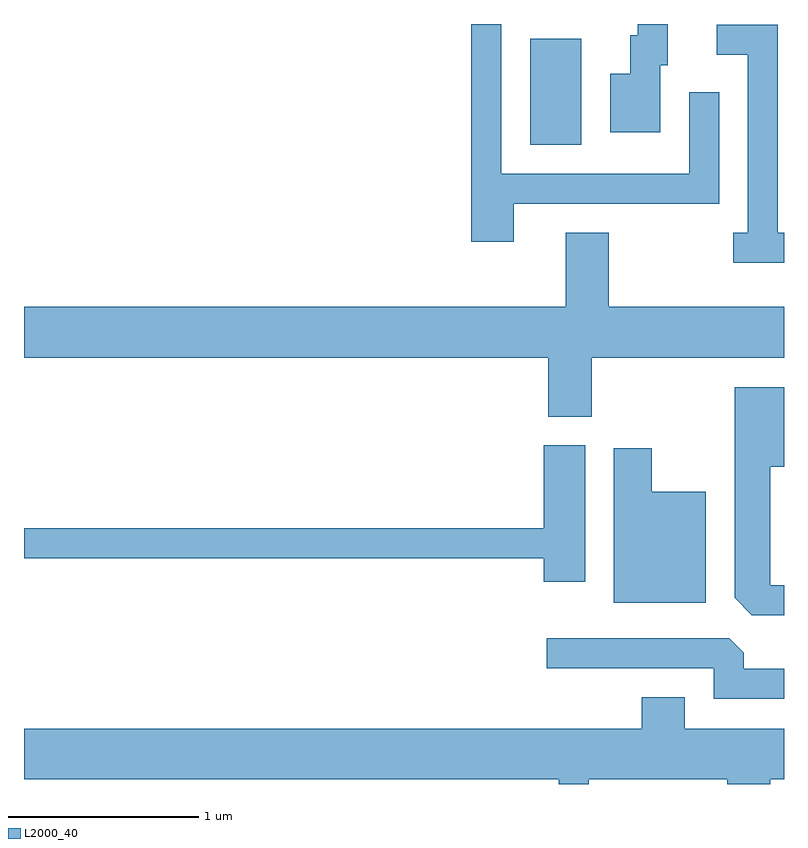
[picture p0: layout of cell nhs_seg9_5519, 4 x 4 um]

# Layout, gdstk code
import gdstk
lib = gdstk.Library(unit=1e-6, precision=1e-09)
def R(c, l, rs):  # rectangles x0, y0, x1, y1
    for r in rs: c.add(gdstk.rectangle(r[:2], r[2:], *l))
def P(c, l, *ps):  # polygons
    for p in ps: c.add(gdstk.Polygon(p, *l))
L2000_40 = (2000, 40)

nhs_seg9_5519 = lib.new_cell('nhs_seg9_5519')
R(nhs_seg9_5519, L2000_40, [(350.276,2021.796,350.544,2022.354)])
P(nhs_seg9_5519, L2000_40, [(350.189,2021.486),(351.269,2021.486),(351.269,2022.073),(351.111,2022.073),(351.111,2021.644),(350.124,2021.644),(350.124,2022.432),(349.966,2022.432),(349.966,2021.286),(350.189,2021.286)],
  [(350.959,2022.216),(350.999,2022.216),(350.999,2022.432),(350.841,2022.432),(350.841,2022.374),(350.801,2022.374),(350.801,2022.169),(350.696,2022.169),(350.696,2021.861),(350.959,2021.861)],
  [(351.611,2021.334),(351.579,2021.334),(351.579,2022.429),(351.258,2022.429),(351.258,2022.271),(351.421,2022.271),(351.421,2021.334),(351.343,2021.334),(351.343,2021.176),(351.611,2021.176)],
  [(350.599,2020.676),(351.611,2020.676),(351.611,2020.944),(350.689,2020.944),(350.689,2021.334),(350.461,2021.334),(350.461,2020.944),(347.611,2020.944),(347.611,2020.676),(350.371,2020.676),(350.371,2020.366),(350.599,2020.366)],
  [(351.611,2019.479),(351.539,2019.479),(351.539,2020.101),(351.611,2020.101),(351.611,2020.519),(351.351,2020.519),(351.351,2019.412),(351.442,2019.321),(351.611,2019.321)],
  [(350.564,2020.214),(350.346,2020.214),(350.346,2019.779),(347.611,2019.779),(347.611,2019.621),(350.346,2019.621),(350.346,2019.496),(350.564,2019.496)],
  [(351.199,2019.969),(350.914,2019.969),(350.914,2020.199),(350.716,2020.199),(350.716,2019.386),(351.199,2019.386)],
  [(351.611,2019.039),(351.399,2019.039),(351.399,2019.124),(351.324,2019.199),(350.363,2019.199),(350.363,2019.041),(351.241,2019.041),(351.241,2018.881),(351.611,2018.881)],
  [(350.584,2018.456),(351.311,2018.456),(351.311,2018.432),(351.539,2018.432),(351.539,2018.456),(351.611,2018.456),(351.611,2018.724),(351.089,2018.724),(351.089,2018.889),(350.861,2018.889),(350.861,2018.724),(347.611,2018.724),(347.611,2018.456),(350.426,2018.456),(350.426,2018.432),(350.584,2018.432)])

lib.write_gds('nhs_seg9_5519.gds')
